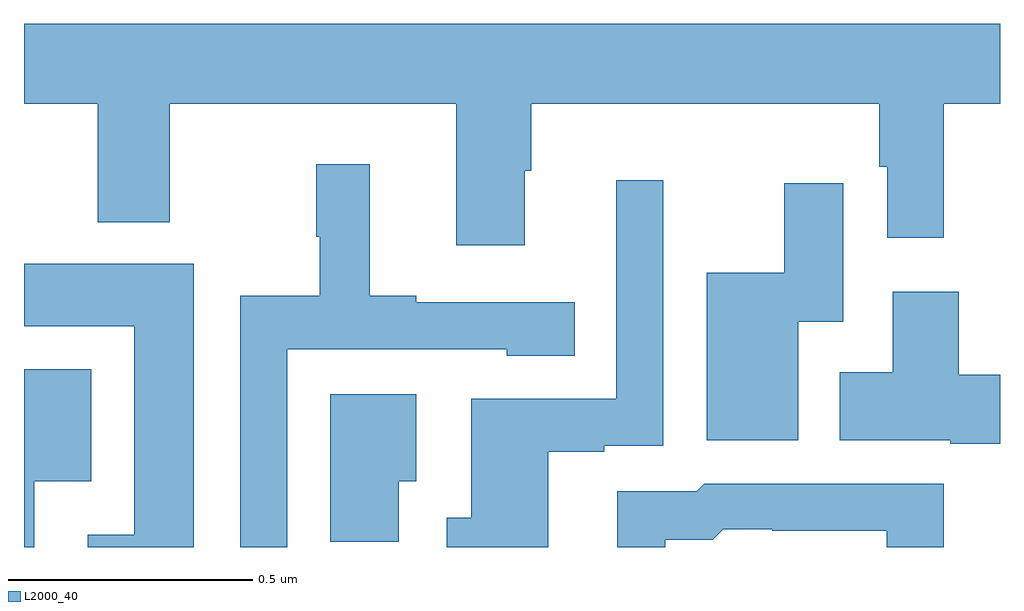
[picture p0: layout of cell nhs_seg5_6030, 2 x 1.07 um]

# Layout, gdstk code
import gdstk
lib = gdstk.Library(unit=1e-6, precision=1e-09)
def P(c, l, *ps):  # polygons
    for p in ps: c.add(gdstk.Polygon(p, *l))
L2000_40 = (2000, 40)

nhs_seg5_6030 = lib.new_cell('nhs_seg5_6030')
P(nhs_seg5_6030, L2000_40, [(191.026,908.571),(191.039,908.571),(191.039,908.708),(191.753,908.708),(191.753,908.579),(191.769,908.579),(191.769,908.433),(191.885,908.433),(191.885,908.708),(192,908.708),(192,908.872),(190,908.872),(190,908.708),(190.151,908.708),(190.151,908.465),(190.299,908.465),(190.299,908.708),(190.886,908.708),(190.886,908.418),(191.026,908.418)],
  [(190.539,908.205),(190.989,908.205),(190.989,908.192),(191.129,908.192),(191.129,908.301),(190.804,908.301),(190.804,908.314),(190.708,908.314),(190.708,908.584),(190.599,908.584),(190.599,908.435),(190.606,908.435),(190.606,908.314),(190.443,908.314),(190.443,907.799),(190.539,907.799)],
  [(191.074,907.995),(191.189,907.995),(191.189,908.007),(191.31,908.007),(191.31,908.551),(191.214,908.551),(191.214,908.103),(190.916,908.103),(190.916,907.86),(190.866,907.86),(190.866,907.799),(191.074,907.799)],
  [(191.587,908.261),(191.679,908.261),(191.679,908.545),(191.558,908.545),(191.558,908.362),(191.399,908.362),(191.399,908.018),(191.587,908.018)],
  [(190.348,908.38),(190,908.38),(190,908.252),(190.226,908.252),(190.226,907.825),(190.131,907.825),(190.131,907.799),(190.348,907.799)],
  [(192,908.153),(191.915,908.153),(191.915,908.323),(191.78,908.323),(191.78,908.158),(191.672,908.158),(191.672,908.018),(191.898,908.018),(191.898,908.011),(192,908.011)],
  [(190.021,907.934),(190.138,907.934),(190.138,908.164),(190,908.164),(190,907.799),(190.021,907.799)],
  [(190.768,907.934),(190.804,907.934),(190.804,908.113),(190.628,908.113),(190.628,907.81),(190.768,907.81)],
  [(191.314,907.814),(191.411,907.814),(191.433,907.836),(191.533,907.836),(191.533,907.833),(191.768,907.833),(191.768,907.799),(191.885,907.799),(191.885,907.929),(191.394,907.929),(191.379,907.914),(191.216,907.914),(191.216,907.799),(191.314,907.799)])

lib.write_gds('nhs_seg5_6030.gds')
